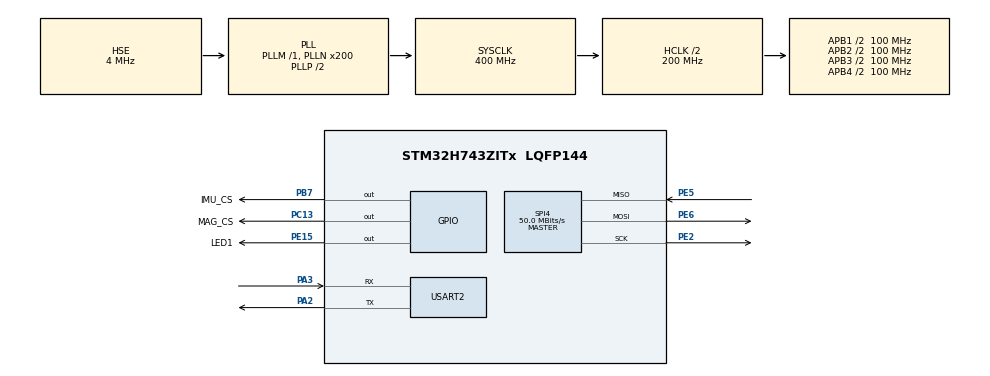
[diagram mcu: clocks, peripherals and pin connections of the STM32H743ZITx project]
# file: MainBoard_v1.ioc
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CORTEX_M7.default_mode_Activation=1
Mcu.Family=STM32H7
Mcu.Name=STM32H743ZITx
Mcu.Package=LQFP144
NVIC.PriorityGroup=NVIC_PRIORITYGROUP_4
PA13\ (JTMS/SWDIO).Mode=Serial_Wire
PA13\ (JTMS/SWDIO).Signal=DEBUG_JTMS-SWDIO
PA14\ (JTCK/SWCLK).Mode=Serial_Wire
PA14\ (JTCK/SWCLK).Signal=DEBUG_JTCK-SWCLK
PA2.Mode=Asynchronous
PA2.Signal=USART2_TX
PA3.Mode=Asynchronous
PA3.Signal=USART2_RX
PB7.GPIO_Label=IMU_CS
PB7.PinState=GPIO_PIN_SET
PB7.Signal=GPIO_Output
PC13.GPIO_Label=MAG_CS
PC13.PinState=GPIO_PIN_SET
PC13.Signal=GPIO_Output
PE15.GPIO_Label=LED1
PE15.PinState=GPIO_PIN_SET
PE15.Signal=GPIO_Output
PE2.Mode=Full_Duplex_Master
PE2.Signal=SPI4_SCK
PE5.Mode=Full_Duplex_Master
PE5.Signal=SPI4_MISO
PE6.Mode=Full_Duplex_Master
PE6.Signal=SPI4_MOSI
PH0-OSC_IN\ (PH0).Mode=HSE-External-Clock-Source
PH0-OSC_IN\ (PH0).Signal=RCC_OSC_IN
ProjectManager.HeapSize=0x200
ProjectManager.StackSize=0x400
ProjectManager.TargetToolchain=CMake
RCC.ADCFreq_Value=8062500
RCC.APB1Freq_Value=100000000
RCC.APB2Freq_Value=100000000
RCC.APB3Freq_Value=100000000
RCC.APB4Freq_Value=100000000
RCC.CortexFreq_Value=400000000
RCC.D1PPRE=RCC_APB3_DIV2
RCC.D2PPRE1=RCC_APB1_DIV2
RCC.D2PPRE2=RCC_APB2_DIV2
RCC.D3PPRE=RCC_APB4_DIV2
RCC.DIVM1=1
RCC.DIVN1=200
RCC.HCLKFreq_Value=200000000
RCC.HPRE=RCC_HCLK_DIV2
RCC.HSE_VALUE=4000000
RCC.PLL2FRACN=0
RCC.PLL3FRACN=0
RCC.PLLFRACN=0
RCC.PLLSourceVirtual=RCC_PLLSOURCE_HSE
RCC.SYSCLKFreq_VALUE=400000000
RCC.SYSCLKSource=RCC_SYSCLKSOURCE_PLLCLK
RCC.USBFreq_Value=400000000
SPI4.CalculateBaudRate=50.0 MBits/s
SPI4.DataSize=SPI_DATASIZE_8BIT
SPI4.Direction=SPI_DIRECTION_2LINES
SPI4.Mode=SPI_MODE_MASTER
SPI4.VirtualType=VM_MASTER
USART2.VirtualMode-Asynchronous=VM_ASYNC
VP_MEMORYMAP_VS_MEMORYMAP.Mode=CurAppReg
board=custom

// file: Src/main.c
/* USER CODE BEGIN Header */
/**
  ******************************************************************************
  * @file           : main.c
  * @brief          : Main program body
  ******************************************************************************
  * @attention
  *
  * Copyright (c) 2026 STMicroelectronics.
  * All rights reserved.
  *
  * This software is licensed under terms that can be found in the LICENSE file
  * in the root directory of this software component.
  * If no LICENSE file comes with this software, it is provided AS-IS.
  *
  ******************************************************************************
  */
/* USER CODE END Header */
#include "main.h"
#include "usart.h"
#include "gpio.h"
#include "spi.h"

/* USER CODE BEGIN Includes */
#include<stdio.h>
#include <math.h>
#include "../lib/icm42688/icm42688.h"
#include "../lib/lis3mdl/lis3mdl.h"
/* USER CODE END Includes */

void SystemClock_Config(void);
static void MPU_Config(void);

/* USER CODE BEGIN 0 */
/* USER CODE BEGIN 0 */
typedef struct {
    float angle; // The calculated optimal angle (State variable)
    float bias;  // The calculated gyroscope bias
    float P[2][2]; // Error covariance matrix
} Kalman_t;

// Tuning parameters (Adjust these if the response is too slow or too twitchy)
float Q_angle = 0.001f; // Process noise variance for the accelerometer
float Q_bias  = 0.003f; // Process noise variance for the gyro bias
float R_measure = 0.03f; // Measurement noise variance (Accelerometer confidence)

static float NormalizeAngle(float angle)
{
    while (angle > 180.0f) angle -= 360.0f;
    while (angle <= -180.0f) angle += 360.0f;
    return angle;
}

void Kalman_Update(Kalman_t *Kalman, float newAngle, float newRate, float dt) {
    // Step 1: Predict state ahead
    Kalman->angle += dt * (newRate - Kalman->bias);
    Kalman->angle = NormalizeAngle(Kalman->angle);

    // Step 2: Predict error covariance ahead
    Kalman->P[0][0] += dt * (dt * Kalman->P[1][1] - Kalman->P[0][1] - Kalman->P[1][0] + Q_angle);
    Kalman->P[0][1] -= dt * Kalman->P[1][1];
    Kalman->P[1][0] -= dt * Kalman->P[1][1];
    Kalman->P[1][1] += Q_bias * dt;

    // Step 3: Calculate Kalman gain
    float S = Kalman->P[0][0] + R_measure;
    float K[2];
    K[0] = Kalman->P[0][0] / S;
    K[1] = Kalman->P[1][0] / S;

    // Step 4: Update state estimate with measurement
    float y = newAngle - Kalman->angle;
    if (y > 180.0f) y -= 360.0f;
    else if (y < -180.0f) y += 360.0f;

    Kalman->angle += K[0] * y;
    Kalman->angle = NormalizeAngle(Kalman->angle);
    Kalman->bias  += K[1] * y;

    // Step 5: Update error covariance matrix
    float P00_temp = Kalman->P[0][0];
    float P01_temp = Kalman->P[0][1];

    Kalman->P[0][0] -= K[0] * P00_temp;
    Kalman->P[0][1] -= K[0] * P01_temp;
    Kalman->P[1][0] -= K[1] * P00_temp;
    Kalman->P[1][1] -= K[1] * P01_temp;
}
/* USER CODE END 0 */
/* USER CODE END 0 */

int main(void)
{

  /* MPU Configuration--------------------------------------------------------*/
  MPU_Config();

  /* MCU Configuration--------------------------------------------------------*/

  /* Reset of all peripherals, Initializes the Flash interface and the Systick. */
  HAL_Init();

  /* Configure the system clock */
  SystemClock_Config();

  /* Initialize all configured peripherals */
  MX_GPIO_Init();
  MX_USART2_UART_Init();
  MX_SPI4_Init();
/* USER CODE BEGIN 2 */
/* USER CODE BEGIN 2 */
HAL_GPIO_WritePin(IMU_CS_GPIO_Port, IMU_CS_Pin, GPIO_PIN_SET);
HAL_GPIO_WritePin(MAG_CS_GPIO_Port, MAG_CS_Pin, GPIO_PIN_SET);

setvbuf(stdout, NULL, _IONBF, 0);

/* ── Hard-Iron calibration offsets ─────────────────────────────────────
 * You MUST collect these by running the calibration routine below ONCE,
 * then paste the printed values here and recompile.
 * Until then, set all to 0 and expect a constant heading error.          */
float mag_offset_x = -14.987f;   // <-- paste your measured value
float mag_offset_y = 7.7910f;   // <-- paste your measured value
float mag_offset_z = -79.9050f;   // <-- paste your measured value

// ── Kalman structures ───────────────────────────────────────────────────
Kalman_t kalman_pitch = { .angle = 0.0f, .bias = 0.0f, .P = {{0,0},{0,0}} };
Kalman_t kalman_roll  = { .angle = 0.0f, .bias = 0.0f, .P = {{0,0},{0,0}} };
Kalman_t kalman_yaw   = { .angle = 0.0f, .bias = 0.0f, .P = {{0,0},{0,0}} };

/* Initialize ICM-42688 */
ICM42688_Handle_t imu_handle;
ICM42688_Init(&imu_handle, &hspi4, IMU_CS_GPIO_Port, IMU_CS_Pin);

uint8_t who_am_i = 0;
if (ICM42688_GetWhoAmI(&imu_handle, &who_am_i) != HAL_OK || who_am_i != 0x47)
  printf("ICM WHO_AM_I = 0x%02X (ERROR)\r\n", who_am_i);
else
  printf("ICM WHO_AM_I = 0x47 (OK)\r\n");

ICM42688_SoftReset(&imu_handle);
ICM42688_ConfigureSensor(&imu_handle);

/* ── Gyro Z calibration ────────────────────────────────────────────────*/
printf("Calibrating Gyroscope... DO NOT MOVE!\r\n");
// ── Gyro Z calibration (also calibrate X and Y while we're here) ──────
printf("Calibrating Gyroscope... DO NOT MOVE!\r\n");
float gx_offset = 0.0f, gy_offset = 0.0f, gz_offset = 0.0f;
float ax_avg = 0.0f, ay_avg = 0.0f, az_avg = 0.0f;  // to detect board orientation

for (int i = 0; i < 200; i++) {
    int16_t t, ax, ay, az, gx, gy, gz;
    if (ICM42688_ReadTempAccelGyro(&imu_handle, &t, &ax, &ay, &az, &gx, &gy, &gz) == HAL_OK) {
        gx_offset += (gx / 16.4f);
        gy_offset += (gy / 16.4f);
        gz_offset += (gz / 16.4f);
        ax_avg += (ax / 4096.0f);  // in g
        ay_avg += (ay / 4096.0f);
        az_avg += (az / 4096.0f);
    }
    HAL_Delay(5);
}
gx_offset /= 200.0f;
gy_offset /= 200.0f;
gz_offset /= 200.0f;
ax_avg    /= 200.0f;
ay_avg    /= 200.0f;
az_avg    /= 200.0f;

printf("Gyro offsets: GX=%.3f GY=%.3f GZ=%.3f dps\r\n", gx_offset, gy_offset, gz_offset);
printf("Accel at rest: AX=%.3fg AY=%.3fg AZ=%.3fg\r\n", ax_avg, ay_avg, az_avg);
printf(">>> Gravity should read ~1.0g on ONE axis only.\r\n");
printf(">>> If AZ~=+1 : board is flat, chip-side UP   (standard)\r\n");
printf(">>> If AZ~=-1 : board is flat, chip-side DOWN (flip az sign)\r\n");
printf(">>> If AX~=+1 : board is on its left edge\r\n");
printf(">>> If AX~=-1 : board is on its right edge\r\n");
printf(">>> If AY~=+1 : board is on its front edge\r\n");
printf(">>> If AY~=-1 : board is on its back edge\r\n");

/* Initialize LIS3MDL */
LIS3MDL_Handle_t mag_handle;
LIS3MDL_Init(&mag_handle, &hspi4, MAG_CS_GPIO_Port, MAG_CS_Pin);

if (LIS3MDL_GetWhoAmI(&mag_handle, &who_am_i) != HAL_OK || who_am_i != 0x3D)
  printf("MAG WHO_AM_I = 0x%02X (ERROR)\r\n", who_am_i);
else
  printf("MAG WHO_AM_I = 0x3D (OK)\r\n");

LIS3MDL_ConfigureSensor(&mag_handle);

/* ════════════════════════════════════════════════════════════════════════
 * HARD-IRON CALIBRATION ROUTINE
 * Uncomment this block ONCE, rotate the board slowly through all
 * orientations for ~30 seconds, then read the printed offsets.
 * Paste them into mag_offset_x/y/z above, then re-comment this block.
 * ════════════════════════════════════════════════════════════════════════ */
/*
{
    float mx_min = 1e9f, mx_max = -1e9f;
    float my_min = 1e9f, my_max = -1e9f;
    float mz_min = 1e9f, mz_max = -1e9f;
    printf("=== HARD-IRON CAL: rotate board in all directions for 30s ===\r\n");
    uint32_t t_end = HAL_GetTick() + 30000;
    while (HAL_GetTick() < t_end) {
        float mx, my, mz;
        if (LIS3MDL_ReadMagneticField(&mag_handle, &mx, &my, &mz) == HAL_OK) {
            if (mx < mx_min) mx_min = mx;
            if (mx > mx_max) mx_max = mx;
            if (my < my_min) my_min = my;
            if (my > my_max) my_max = my;
            if (mz < mz_min) mz_min = mz;
            if (mz > mz_max) mz_max = mz;
        }
        HAL_Delay(20);
    }
    printf("Paste these into your code:\r\n");
    printf("mag_offset_x = %.4f;\r\n", (mx_min + mx_max) / 2.0f);
    printf("mag_offset_y = %.4f;\r\n", (my_min + my_max) / 2.0f);
    printf("mag_offset_z = %.4f;\r\n", (mz_min + mz_max) / 2.0f);
    while(1); // Stop here — recompile after pasting offsets
}
*/

uint32_t last_tick = HAL_GetTick();
static float mag_x_filt = 0.0f, mag_y_filt = 0.0f, mag_z_filt = 0.0f;
static uint8_t mag_filter_init = 0;

printf("=== Fusion Loop Starting ===\r\n");

  /* USER CODE END 2 */

  /* Infinite loop */
  while (1)
  {

   /* USER CODE BEGIN 3 */

    uint32_t now = HAL_GetTick();
    float dt = (now - last_tick) / 1000.0f;
    if (dt <= 0.0f || dt > 1.0f) dt = 0.01f;
    last_tick = now;

    int16_t temp_raw, ax_raw, ay_raw, az_raw, gx_raw, gy_raw, gz_raw;
    float mag_x_uT = 0.0f, mag_y_uT = 0.0f, mag_z_uT = 0.0f;
    uint8_t imu_ok = 0, mag_ok = 0;

    // 1. Read IMU
    if (ICM42688_ReadTempAccelGyro(&imu_handle, &temp_raw,
            &ax_raw, &ay_raw, &az_raw,
            &gx_raw, &gy_raw, &gz_raw) == HAL_OK)
        imu_ok = 1;

    // 2. Read Magnetometer
    if (LIS3MDL_ReadMagneticField(&mag_handle, &mag_x_uT, &mag_y_uT, &mag_z_uT) == HAL_OK) {
        mag_ok = 1;

        // Apply hard-iron correction FIRST (before anything else)
        mag_x_uT -= mag_offset_x;
        mag_y_uT -= mag_offset_y;
        mag_z_uT -= mag_offset_z;

        // Low-pass filter on corrected values
        if (!mag_filter_init) {
            mag_x_filt = mag_x_uT;
            mag_y_filt = mag_y_uT;
            mag_z_filt = mag_z_uT;
            mag_filter_init = 1;
        } else {
            const float alpha = 0.15f;
            mag_x_filt = alpha * mag_x_uT + (1.0f - alpha) * mag_x_filt;
            mag_y_filt = alpha * mag_y_uT + (1.0f - alpha) * mag_y_filt;
            mag_z_filt = alpha * mag_z_uT + (1.0f - alpha) * mag_z_filt;
        }
        mag_x_uT = mag_x_filt;
        mag_y_uT = mag_y_filt;
        mag_z_uT = mag_z_filt;
    }

    if (imu_ok && mag_ok)
    {
        // Convert IMU to engineering units
       // Convert to engineering units
float ax = (ax_raw / 4096.0f);   // keep in 'g' — cleaner for atan2
float ay = (ay_raw / 4096.0f);
float az = (az_raw / 4096.0f);
float gx_dps = (gx_raw / 16.4f) - gx_offset;   // ← subtract X bias too
float gy_dps = (gy_raw / 16.4f) - gy_offset;   // ← subtract Y bias too
float gz_dps = (gz_raw / 16.4f) - gz_offset;

// ── Axis sanity clamp — reject spikes from SPI glitches ──────────────
// If accel magnitude is way off 1g, skip this frame
float accel_mag = sqrtf(ax*ax + ay*ay + az*az);
if (accel_mag < 0.5f || accel_mag > 2.0f) {
    HAL_GPIO_TogglePin(LED1_GPIO_Port, LED1_Pin);
    HAL_Delay(10);
    continue;
}

// ── Standard flat-mount formulas (AZ reads +1g when board is flat) ───
// If your board is mounted differently, swap/negate axes here.
float accel_pitch = atan2f(-ax, sqrtf(ay*ay + az*az)) * 57.29578f;
float accel_roll  = atan2f( ay, az)                   * 57.29578f;

// Kalman update — gyro axes must match the physical rotation axis
// Pitch (nose up/down) is rotation around board Y → driven by gy
// Roll  (wing tilt)    is rotation around board X → driven by gx
Kalman_Update(&kalman_pitch, accel_pitch, gy_dps, dt);
Kalman_Update(&kalman_roll,  accel_roll,  gx_dps, dt);

        float pitch_rad = kalman_pitch.angle * 0.01745329f;
        float roll_rad  = kalman_roll.angle  * 0.01745329f;

        float cos_p = cosf(pitch_rad), sin_p = sinf(pitch_rad);
        float cos_r = cosf(roll_rad),  sin_r = sinf(roll_rad);

        // Tilt-compensated magnetometer components
        float mx_comp = mag_x_uT * cos_p
                      + mag_y_uT * sin_r * sin_p
                      + mag_z_uT * cos_r * sin_p;

        float my_comp = mag_y_uT * cos_r
                      - mag_z_uT * sin_r;

        // ── RAW MAG YAW: hard-iron corrected + tilt-compensated, NO Kalman ──
        // This tells you exactly how good your magnetometer calibration is.
        // If this is noisy/drifty, your hard-iron offsets need refinement.
        // If this is clean, Kalman is working correctly on top of it.
        float yaw_raw_mag = atan2f(-my_comp, mx_comp) * 57.29578f;
        yaw_raw_mag = NormalizeAngle(yaw_raw_mag);

        // ── FUSED YAW: Kalman filter blending mag heading + gyro rate ──
        float mag_yaw = yaw_raw_mag; // reuse — already computed above
        Kalman_Update(&kalman_yaw, mag_yaw, gz_dps, dt);

        // Two yaw streams so you can compare them directly in your plotter:
        //   YAW_MAG  = magnetometer only (calibrated + tilt-compensated)
        //   YAW_FILT = Kalman-fused result
        printf("PITCH:%.2f,ROLL:%.2f,YAW_MAG:%.2f,YAW_FILT:%.2f,Max:180.0,Min:-180.0\r\n",
               kalman_pitch.angle, kalman_roll.angle,
               yaw_raw_mag, kalman_yaw.angle);
    }

    HAL_GPIO_TogglePin(LED1_GPIO_Port, LED1_Pin);
    HAL_Delay(10);
    /* USER CODE END 3 */
  }
}

void SystemClock_Config(void)
{
  RCC_OscInitTypeDef RCC_OscInitStruct = {0};
  RCC_ClkInitTypeDef RCC_ClkInitStruct = {0};

  /** Supply configuration update enable
  */
  HAL_PWREx_ConfigSupply(PWR_LDO_SUPPLY);

  /** Configure the main internal regulator output voltage
  */
  __HAL_PWR_VOLTAGESCALING_CONFIG(PWR_REGULATOR_VOLTAGE_SCALE1);

  while(!__HAL_PWR_GET_FLAG(PWR_FLAG_VOSRDY)) {}

  /** Initializes the RCC Oscillators according to the specified parameters
  * in the RCC_OscInitTypeDef structure.
  */
  RCC_OscInitStruct.OscillatorType = RCC_OSCILLATORTYPE_HSE;
  RCC_OscInitStruct.HSEState = RCC_HSE_BYPASS;
  RCC_OscInitStruct.PLL.PLLState = RCC_PLL_ON;
  RCC_OscInitStruct.PLL.PLLSource = RCC_PLLSOURCE_HSE;
  RCC_OscInitStruct.PLL.PLLM = 1;
  RCC_OscInitStruct.PLL.PLLN = 200;
  RCC_OscInitStruct.PLL.PLLP = 2;
  RCC_OscInitStruct.PLL.PLLQ = 2;
  RCC_OscInitStruct.PLL.PLLR = 2;
  RCC_OscInitStruct.PLL.PLLRGE = RCC_PLL1VCIRANGE_2;
  RCC_OscInitStruct.PLL.PLLVCOSEL = RCC_PLL1VCOWIDE;
  RCC_OscInitStruct.PLL.PLLFRACN = 0;
  if (HAL_RCC_OscConfig(&RCC_OscInitStruct) != HAL_OK)
  {
    Error_Handler();
  }

  /** Initializes the CPU, AHB and APB buses clocks
  */
  RCC_ClkInitStruct.ClockType = RCC_CLOCKTYPE_HCLK|RCC_CLOCKTYPE_SYSCLK
                              |RCC_CLOCKTYPE_PCLK1|RCC_CLOCKTYPE_PCLK2
                              |RCC_CLOCKTYPE_D3PCLK1|RCC_CLOCKTYPE_D1PCLK1;
  RCC_ClkInitStruct.SYSCLKSource = RCC_SYSCLKSOURCE_PLLCLK;
  RCC_ClkInitStruct.SYSCLKDivider = RCC_SYSCLK_DIV1;
  RCC_ClkInitStruct.AHBCLKDivider = RCC_HCLK_DIV2;
  RCC_ClkInitStruct.APB3CLKDivider = RCC_APB3_DIV2;
  RCC_ClkInitStruct.APB1CLKDivider = RCC_APB1_DIV2;
  RCC_ClkInitStruct.APB2CLKDivider = RCC_APB2_DIV2;
  RCC_ClkInitStruct.APB4CLKDivider = RCC_APB4_DIV2;

  if (HAL_RCC_ClockConfig(&RCC_ClkInitStruct, FLASH_LATENCY_2) != HAL_OK)
  {
    Error_Handler();
  }
}

/* USER CODE BEGIN 4 */
// doin this for uart
int __io_putchar(int ch)
{
    HAL_UART_Transmit(&huart2, (uint8_t *)&ch, 1, HAL_MAX_DELAY);
    return ch;
}

/* USER CODE END 4 */

 /* MPU Configuration */

static void MPU_Config(void)
{
  MPU_Region_InitTypeDef MPU_InitStruct = {0};

  /* Disables the MPU */
  HAL_MPU_Disable();

  /** Initializes and configures the Region and the memory to be protected
  */
  MPU_InitStruct.Enable = MPU_REGION_ENABLE;
  MPU_InitStruct.Number = MPU_REGION_NUMBER0;
  MPU_InitStruct.BaseAddress = 0x0;
  MPU_InitStruct.Size = MPU_REGION_SIZE_4GB;
  MPU_InitStruct.SubRegionDisable = 0x87;
  MPU_InitStruct.TypeExtField = MPU_TEX_LEVEL0;
  MPU_InitStruct.AccessPermission = MPU_REGION_NO_ACCESS;
  MPU_InitStruct.DisableExec = MPU_INSTRUCTION_ACCESS_DISABLE;
  MPU_InitStruct.IsShareable = MPU_ACCESS_SHAREABLE;
  MPU_InitStruct.IsCacheable = MPU_ACCESS_NOT_CACHEABLE;
  MPU_InitStruct.IsBufferable = MPU_ACCESS_NOT_BUFFERABLE;

  HAL_MPU_ConfigRegion(&MPU_InitStruct);
  /* Enables the MPU */
  HAL_MPU_Enable(MPU_PRIVILEGED_DEFAULT);

}

void Error_Handler(void)
{
  __disable_irq();
  while (1)
  {
  }
}
